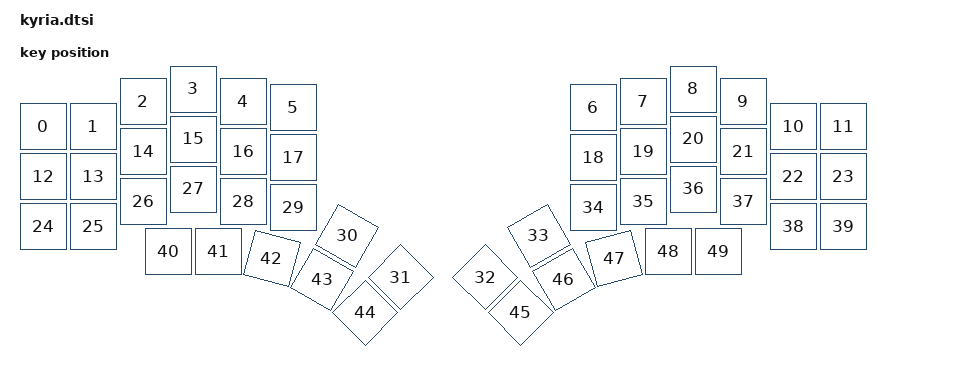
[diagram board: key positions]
// Kyria (splitkb) rev3 — 6-column variant. 50 keys: 4×6 main + 4 thumb keys
// in row 3 + 5 thumb keys in row 4, per hand. Thumb keys rotate about a
// shared pivot per hand.
// Adapted from upstream ZMK firmware:
//   app/boards/shields/kyria/kyria-layouts.dtsi (splitkb_kyria_6col_layout)
// Stripped of #includes, the 5col alternate layout, and the position-map
// block — our parser only reads &key_physical_attrs entries, and the natural
// dtsi order already matches the keymap binding-index order (the upstream
// position-map is an identity map for the 6col layout).

/ {
    splitkb_kyria_6col_layout: splitkb_kyria_6col_layout {
        compatible = "zmk,physical-layout";
        display-name = "6 Column";

        keys  //                     w   h    x    y     rot    rx    ry
            = <&key_physical_attrs 100 100    0   75       0     0     0>
            , <&key_physical_attrs 100 100  100   75       0     0     0>
            , <&key_physical_attrs 100 100  200   25       0     0     0>
            , <&key_physical_attrs 100 100  300    0       0     0     0>
            , <&key_physical_attrs 100 100  400   25       0     0     0>
            , <&key_physical_attrs 100 100  500   37       0     0     0>
            , <&key_physical_attrs 100 100 1100   37       0     0     0>
            , <&key_physical_attrs 100 100 1200   25       0     0     0>
            , <&key_physical_attrs 100 100 1300    0       0     0     0>
            , <&key_physical_attrs 100 100 1400   25       0     0     0>
            , <&key_physical_attrs 100 100 1500   75       0     0     0>
            , <&key_physical_attrs 100 100 1600   75       0     0     0>
            , <&key_physical_attrs 100 100    0  175       0     0     0>
            , <&key_physical_attrs 100 100  100  175       0     0     0>
            , <&key_physical_attrs 100 100  200  125       0     0     0>
            , <&key_physical_attrs 100 100  300  100       0     0     0>
            , <&key_physical_attrs 100 100  400  125       0     0     0>
            , <&key_physical_attrs 100 100  500  137       0     0     0>
            , <&key_physical_attrs 100 100 1100  137       0     0     0>
            , <&key_physical_attrs 100 100 1200  125       0     0     0>
            , <&key_physical_attrs 100 100 1300  100       0     0     0>
            , <&key_physical_attrs 100 100 1400  125       0     0     0>
            , <&key_physical_attrs 100 100 1500  175       0     0     0>
            , <&key_physical_attrs 100 100 1600  175       0     0     0>
            , <&key_physical_attrs 100 100    0  275       0     0     0>
            , <&key_physical_attrs 100 100  100  275       0     0     0>
            , <&key_physical_attrs 100 100  200  225       0     0     0>
            , <&key_physical_attrs 100 100  300  200       0     0     0>
            , <&key_physical_attrs 100 100  400  225       0     0     0>
            , <&key_physical_attrs 100 100  500  237       0     0     0>
            , <&key_physical_attrs 100 100  350  225    3000   400   792>
            , <&key_physical_attrs 100 100  350  225    4500   400   792>
            , <&key_physical_attrs 100 100 1250  225 (-4500)  1300   792>
            , <&key_physical_attrs 100 100 1250  225 (-3000)  1300   792>
            , <&key_physical_attrs 100 100 1100  237       0     0     0>
            , <&key_physical_attrs 100 100 1200  225       0     0     0>
            , <&key_physical_attrs 100 100 1300  200       0     0     0>
            , <&key_physical_attrs 100 100 1400  225       0     0     0>
            , <&key_physical_attrs 100 100 1500  275       0     0     0>
            , <&key_physical_attrs 100 100 1600  275       0     0     0>
            , <&key_physical_attrs 100 100  250  325       0     0     0>
            , <&key_physical_attrs 100 100  350  325       0     0     0>
            , <&key_physical_attrs 100 100  350  325    1500   400   792>
            , <&key_physical_attrs 100 100  350  325    3000   400   792>
            , <&key_physical_attrs 100 100  350  325    4500   400   792>
            , <&key_physical_attrs 100 100 1250  325 (-4500)  1300   792>
            , <&key_physical_attrs 100 100 1250  325 (-3000)  1300   792>
            , <&key_physical_attrs 100 100 1250  325 (-1500)  1300   792>
            , <&key_physical_attrs 100 100 1250  325       0     0     0>
            , <&key_physical_attrs 100 100 1350  325       0     0     0>
            ;
    };
};
